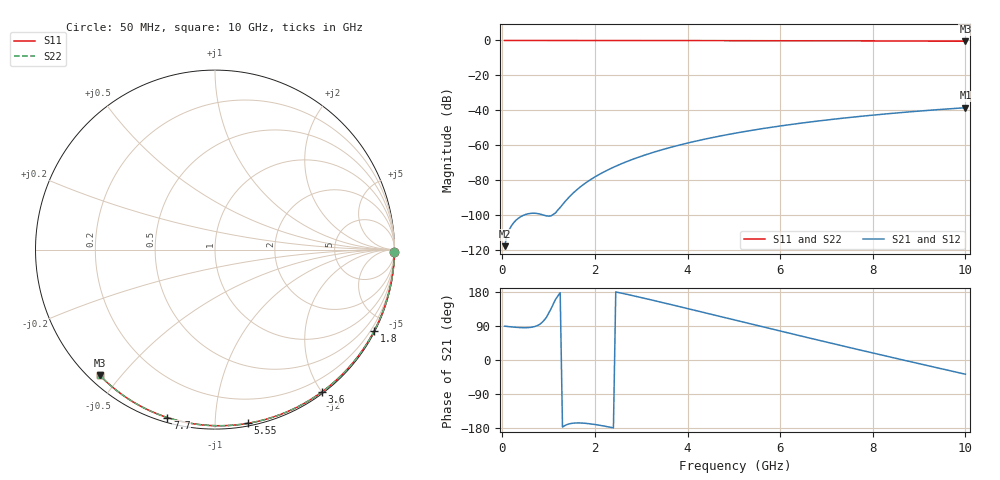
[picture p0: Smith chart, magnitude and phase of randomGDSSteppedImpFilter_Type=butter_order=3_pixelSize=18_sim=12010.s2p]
! freq	dB(S11)	phase(S11)	dB(S12)	phase(S12)
!  dB(S21)	phase(S21)	dB(S22)	phase(S22)
!S-par simulation data
#  GHz  S  DB  R 50
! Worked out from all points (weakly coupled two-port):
!   200 points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, 50 MHz to 10 GHz, reference 50 ohm
!   highest |S21| = -38.45 dB at 10 GHz (marker M1); lowest = -117.6 dB at 50 MHz (marker M2)
!   lowest |S11| = -0.4 dB at 10 GHz (marker M3), VSWR 38.82, Z = 1.54 - j21.9 ohm
!   |S11| at or under -10 dB: nowhere
!   |S22| runs from -0.4 to 0.0 dB; largest |S21 - S12| = 0
!   S11 on the Smith chart (normalised r, x): 50 MHz: open; 1.8 GHz: 0.04, -4.14; 3.6 GHz: 0.02, -2.00; 5.55 GHz: 0.02, -1.21; 7.7 GHz: 0.02, -0.76; 10 GHz: 0.03, -0.44
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0.05  -0.00 -0.8  -117.60 89.3  -117.60 89.3  -0.00 -0.8
0.9  -0.02 -13.7  -99.91 104.4  -99.91 104.4  -0.02 -13.7
1.75  -0.03 -26.4  -82.39 -166.6  -82.39 -166.6  -0.03 -26.4
1.8  -0.03 -27.1  -81.43 -167.1  -81.43 -167.1  -0.03 -27.1
1.85  -0.04 -27.9  -80.52 -167.7  -80.52 -167.7  -0.04 -27.9
1.9  -0.04 -28.6  -79.65 -168.5  -79.65 -168.5  -0.04 -28.6
2.05  -0.04 -30.8  -77.23 -171.2  -77.23 -171.2  -0.04 -30.8
2.25  -0.04 -33.8  -74.39 -175.5  -74.39 -175.5  -0.04 -33.8
2.45  -0.05 -36.7  -71.88 179.6  -71.88 179.6  -0.05 -36.7
2.65  -0.05 -39.6  -69.64 174.4  -69.64 174.4  -0.05 -39.6
3  -0.06 -44.6  -66.20 164.8  -66.20 164.8  -0.06 -44.6
3.4  -0.07 -50.3  -62.85 153.4  -62.85 153.4  -0.07 -50.3
3.6  -0.07 -53.1  -61.36 147.5  -61.36 147.5  -0.07 -53.1
4.3  -0.09 -62.7  -56.84 126.9  -56.84 126.9  -0.09 -62.7
5.05  -0.11 -72.7  -52.92 104.6  -52.92 104.6  -0.11 -72.8
5.55  -0.13 -79.3  -50.69 89.8  -50.69 89.8  -0.13 -79.3
6.1  -0.15 -86.3  -48.52 73.6  -48.52 73.6  -0.15 -86.3
6.7  -0.18 -93.7  -46.44 56.0  -46.44 56.0  -0.18 -93.8
7.7  -0.24 -105.9  -43.47 27.1  -43.47 27.1  -0.24 -105.9
8.35  -0.29 -113.5  -41.83 8.6  -41.83 8.6  -0.29 -113.6
9.15  -0.36 -122.8  -40.06 -13.9  -40.06 -13.9  -0.36 -122.8
10  -0.45 -132.6  -38.45 -37.5  -38.45 -37.5  -0.45 -132.6
